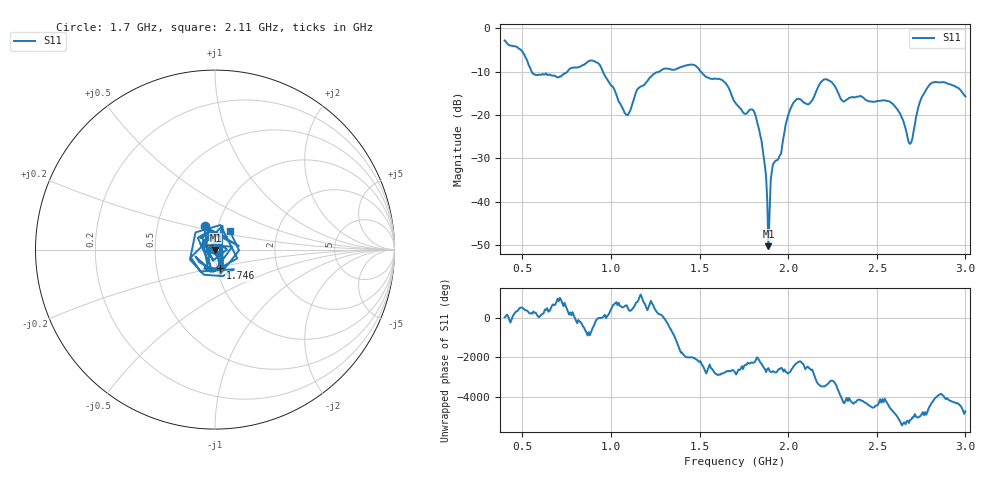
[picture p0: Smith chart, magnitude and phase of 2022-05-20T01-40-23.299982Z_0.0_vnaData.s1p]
!Created with skrf (http://scikit-rf.org).
# Hz S RI R 50.0
!freq ReS11 ImS11
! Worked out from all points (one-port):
!   401 points, 400 MHz to 3 GHz, reference 50 ohm
!   lowest |S11| = -50.3 dB at 1.889 GHz (marker M1), VSWR 1.01, Z = 50.3 - j0.136 ohm
!   |S11| at or under -10 dB: 553 MHz to 753.5 MHz (200.5 MHz wide, 30.7 % of centre); 954.5 MHz to 1.272 GHz (317.2 MHz wide, 28.5 % of centre); 1.508 GHz to end of sweep
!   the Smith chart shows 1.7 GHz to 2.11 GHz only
!   S11 on the Smith chart (normalised r, x): 1.7 GHz: 0.87, +0.23; 1.746 GHz: 1.03, -0.22; 2.11 GHz: 1.15, +0.25
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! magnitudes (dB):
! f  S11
! 400 MHz  -2.8
! 497.5 MHz  -5.2
! 569 MHz  -10.6
! 725 MHz  -10.7
! 913.5 MHz  -7.8
! 1.05 GHz  -17.2
! 1.095 GHz  -20.0
! 1.232 GHz  -10.9
! 1.375 GHz  -9.2
! 1.622 GHz  -11.8
! 1.7 GHz  -17.0
! 1.746 GHz  -19.4
! 1.823 GHz  -21.4
! 1.863 GHz  -29.7
! 1.875 GHz  -34.2
! 1.889 GHz  -50.3
! 1.901 GHz  -35.1
! 1.915 GHz  -31.4
! 2.025 GHz  -17.5
! 2.11 GHz  -17.5
! 2.207 GHz  -11.8
! 2.35 GHz  -15.9
! 2.578 GHz  -17.0
! 2.675 GHz  -25.4
! 2.695 GHz  -26.3
! 2.747 GHz  -16.6
! 2.805 GHz  -12.8
! 3 GHz  -15.7
